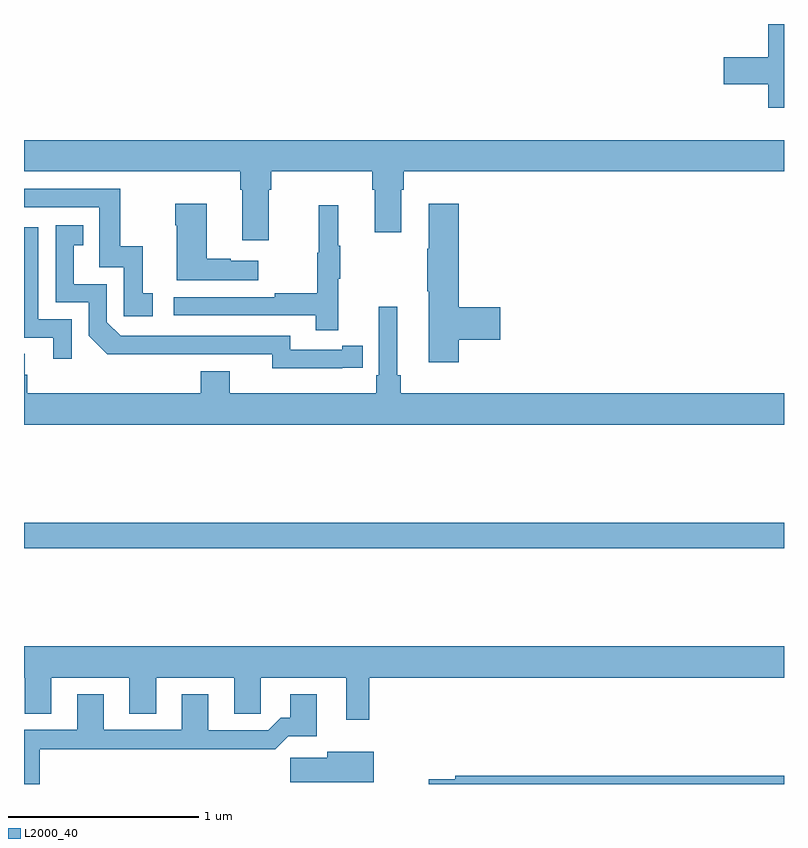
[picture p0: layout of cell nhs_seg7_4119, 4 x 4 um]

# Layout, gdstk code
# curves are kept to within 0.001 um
import gdstk
lib = gdstk.Library(unit=1e-6, precision=1e-09)
def R(c, l, rs):  # rectangles x0, y0, x1, y1
    for r in rs: c.add(gdstk.rectangle(r[:2], r[2:], *l))
def P(c, l, *ps):  # polygons
    for p in ps: c.add(gdstk.Polygon(p, *l))
L2000_40 = (2000, 40)

nhs_seg7_4119 = lib.new_cell('nhs_seg7_4119')
R(nhs_seg7_4119, L2000_40, [(371,1057.24,375,1057.376)])
P(nhs_seg7_4119, L2000_40, [(375,1060),(374.918,1060),(374.918,1059.824),(374.682,1059.824),(374.682,1059.682),(374.918,1059.682),(374.918,1059.558),(375,1059.558)],
  [(372.289,1059.128),(372.302,1059.128),(372.302,1059.224),(372.833,1059.224),(372.833,1059.128),(372.845,1059.128),(372.845,1058.904),(372.985,1058.904),(372.985,1059.128),(372.998,1059.128),(372.998,1059.224),(375,1059.224),(375,1059.388),(371,1059.388),(371,1059.224),(372.137,1059.224),(372.137,1059.128),(372.149,1059.128),(372.149,1058.862),(372.289,1058.862)],
  [(371.677,1058.583),(371.624,1058.583),(371.624,1058.83),(371.506,1058.83),(371.506,1059.132),(371,1059.132),(371,1059.036),(371.397,1059.036),(371.397,1058.721),(371.526,1058.721),(371.526,1058.463),(371.677,1058.463)],
  [(372.232,1058.755),(372.089,1058.755),(372.089,1058.765),(371.962,1058.765),(371.962,1059.055),(371.797,1059.055),(371.797,1058.942),(371.804,1058.942),(371.804,1058.651),(372.232,1058.651)],
  [(373.289,1058.339),(373.507,1058.339),(373.507,1058.51),(373.289,1058.51),(373.289,1059.055),(373.13,1059.055),(373.13,1058.816),(373.123,1058.816),(373.123,1058.593),(373.13,1058.593),(373.13,1058.22),(373.289,1058.22)],
  [(372.653,1058.659),(372.664,1058.659),(372.664,1058.833),(372.653,1058.833),(372.653,1059.046),(372.55,1059.046),(372.55,1058.796),(372.543,1058.796),(372.543,1058.582),(372.319,1058.582),(372.319,1058.562),(371.787,1058.562),(371.787,1058.466),(372.535,1058.466),(372.535,1058.388),(372.653,1058.388)],
  [(372.674,1058.19),(372.782,1058.19),(372.782,1058.306),(372.674,1058.306),(372.674,1058.286),(372.402,1058.286),(372.402,1058.358),(371.508,1058.358),(371.436,1058.43),(371.436,1058.631),(371.263,1058.631),(371.263,1058.835),(371.312,1058.835),(371.312,1058.941),(371.166,1058.941),(371.166,1058.535),(371.34,1058.535),(371.34,1058.358),(371.438,1058.261),(372.306,1058.262),(372.306,1058.189)],
  [(371.25,1058.445),(371.076,1058.445),(371.076,1058.931),(371,1058.931),(371,1058.349),(371.153,1058.349),(371.153,1058.238),(371.25,1058.238)],
  [(375,1058.056),(372.983,1058.056),(372.983,1058.152),(372.964,1058.152),(372.964,1058.512),(372.867,1058.512),(372.867,1058.152),(372.854,1058.152),(372.854,1058.056),(372.082,1058.056),(372.082,1058.173),(371.93,1058.173),(371.93,1058.056),(371.018,1058.056),(371.018,1058.154),(371.005,1058.154),(371.005,1058.264),(371,1058.264),(371,1057.892),(375,1057.892)],
  [(371,1056.56),(371.003,1056.56),(371.003,1056.37),(371.143,1056.37),(371.143,1056.56),(371.555,1056.56),(371.555,1056.37),(371.695,1056.37),(371.695,1056.56),(372.107,1056.56),(372.107,1056.37),(372.246,1056.37),(372.246,1056.56),(372.695,1056.56),(372.695,1056.339),(372.817,1056.339),(372.817,1056.56),(375,1056.56),(375,1056.724),(371,1056.724)],
  [(371.083,1056.184),(372.067,1056.184),(372.067,1056.182),(372.323,1056.182),(372.392,1056.251),(372.541,1056.251),(372.541,1056.472),(372.401,1056.472),(372.401,1056.349),(372.352,1056.349),(372.285,1056.282),(371.971,1056.282),(371.971,1056.472),(371.831,1056.472),(371.831,1056.285),(371.419,1056.285),(371.419,1056.472),(371.279,1056.472),(371.279,1056.285),(371,1056.285),(371,1056),(371.083,1056)],
  [(372.841,1056.169),(372.596,1056.169),(372.596,1056.137),(372.402,1056.137),(372.402,1056.008),(372.841,1056.008)],
  [(375,1056.044),(373.27,1056.044),(373.27,1056.024),(373.129,1056.024),(373.129,1056),(375,1056)])

lib.write_gds('nhs_seg7_4119.gds')
